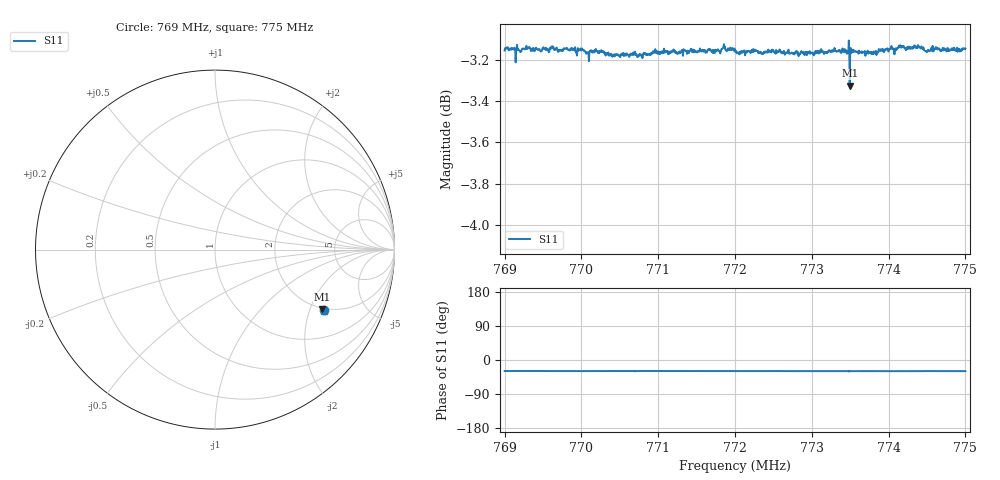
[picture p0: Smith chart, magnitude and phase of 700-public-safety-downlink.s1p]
! Calibrated averaged scanner-service zoom
# Hz S RI R 50
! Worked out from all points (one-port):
!   1001 points, 769 MHz to 775 MHz, reference 50 ohm
!   lowest |S11| = -3.3 dB at 773.494 MHz (marker M1), VSWR 5.29, Z = 97.7 - j121 ohm
!   |S11| at or under -10 dB: nowhere
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7.69e8  0.6082 -0.3375
7.69462e8  0.6078 -0.3381
7.69618e8  0.6086 -0.3404
7.6975e8  0.6075 -0.3395
7.7017e8  0.6065 -0.3406
7.705e8  0.6054 -0.3377
7.7065e8  0.6065 -0.3373
7.70692e8  0.6065 -0.3381
7.7086e8  0.6072 -0.3368
7.7125e8  0.6065 -0.3376
7.71868e8  0.6082 -0.3406
7.72e8  0.6069 -0.3402
7.72336e8  0.6067 -0.3393
7.7275e8  0.6056 -0.3398
7.73422e8  0.6052 -0.3414
7.73446e8  0.6054 -0.3411
7.73452e8  0.6061 -0.3414
7.73494e8  0.5958 -0.332
7.735e8  0.6047 -0.3423
7.73512e8  0.6049 -0.3416
7.73518e8  0.6062 -0.342
7.73542e8  0.6056 -0.3428
7.73818e8  0.605 -0.3411
7.74148e8  0.6071 -0.3421
7.7425e8  0.6063 -0.3422
7.74364e8  0.6066 -0.3424
7.74496e8  0.6061 -0.3398
7.75e8  0.6064 -0.3423
